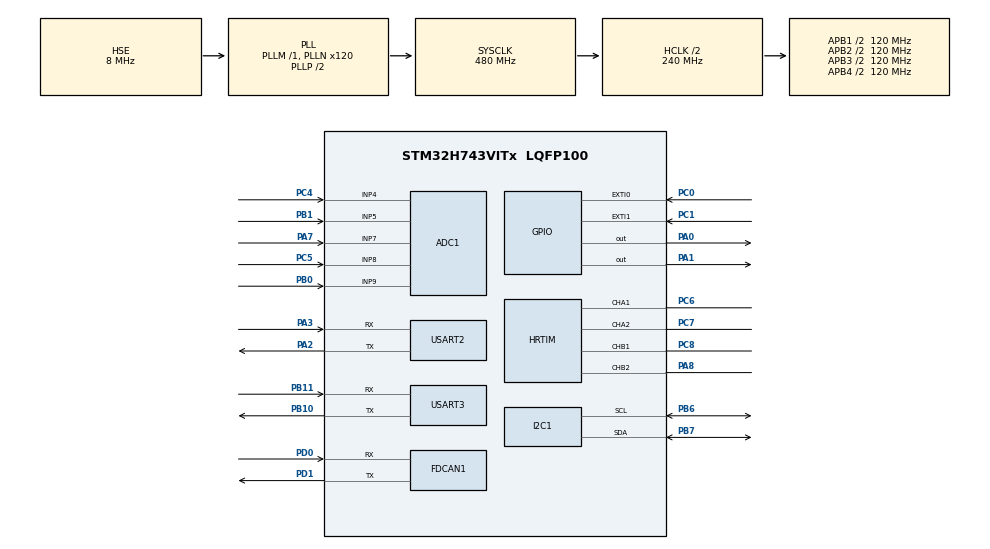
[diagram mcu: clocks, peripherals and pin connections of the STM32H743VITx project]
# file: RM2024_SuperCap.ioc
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ADC1.Channel-0\#ChannelRegularConversion=ADC_CHANNEL_4
ADC1.Channel-1\#ChannelRegularConversion=ADC_CHANNEL_5
ADC1.Channel-2\#ChannelRegularConversion=ADC_CHANNEL_7
ADC1.Channel-3\#ChannelRegularConversion=ADC_CHANNEL_8
ADC1.Channel-4\#ChannelRegularConversion=ADC_CHANNEL_9
ADC1.ConversionDataManagement=ADC_CONVERSIONDATA_DMA_CIRCULAR
ADC1.EOCSelection=ADC_EOC_SEQ_CONV
ADC1.ExternalTrigConv=ADC_EXTERNALTRIG_T3_TRGO
ADC1.NbrOfConversion=5
ADC1.NbrOfConversionFlag=1
ADC1.OffsetNumber-0\#ChannelRegularConversion=ADC_OFFSET_NONE
ADC1.OffsetNumber-1\#ChannelRegularConversion=ADC_OFFSET_NONE
ADC1.OffsetNumber-2\#ChannelRegularConversion=ADC_OFFSET_NONE
ADC1.OffsetNumber-3\#ChannelRegularConversion=ADC_OFFSET_NONE
ADC1.OffsetNumber-4\#ChannelRegularConversion=ADC_OFFSET_NONE
ADC1.OffsetSignedSaturation-0\#ChannelRegularConversion=DISABLE
ADC1.OffsetSignedSaturation-1\#ChannelRegularConversion=DISABLE
ADC1.OffsetSignedSaturation-2\#ChannelRegularConversion=DISABLE
ADC1.OffsetSignedSaturation-3\#ChannelRegularConversion=DISABLE
ADC1.OffsetSignedSaturation-4\#ChannelRegularConversion=DISABLE
ADC1.Overrun=ADC_OVR_DATA_OVERWRITTEN
ADC1.Rank-0\#ChannelRegularConversion=1
ADC1.Rank-1\#ChannelRegularConversion=2
ADC1.Rank-2\#ChannelRegularConversion=3
ADC1.Rank-3\#ChannelRegularConversion=4
ADC1.Rank-4\#ChannelRegularConversion=5
ADC1.SamplingTime-0\#ChannelRegularConversion=ADC_SAMPLETIME_1CYCLE_5
ADC1.SamplingTime-1\#ChannelRegularConversion=ADC_SAMPLETIME_1CYCLE_5
ADC1.SamplingTime-2\#ChannelRegularConversion=ADC_SAMPLETIME_1CYCLE_5
ADC1.SamplingTime-3\#ChannelRegularConversion=ADC_SAMPLETIME_1CYCLE_5
ADC1.SamplingTime-4\#ChannelRegularConversion=ADC_SAMPLETIME_1CYCLE_5
ADC1.master=1
Dma.ADC1.0.Direction=DMA_PERIPH_TO_MEMORY
Dma.ADC1.0.EventEnable=DISABLE
Dma.ADC1.0.FIFOMode=DMA_FIFOMODE_DISABLE
Dma.ADC1.0.Instance=DMA1_Stream0
Dma.ADC1.0.MemDataAlignment=DMA_MDATAALIGN_WORD
Dma.ADC1.0.MemInc=DMA_MINC_ENABLE
Dma.ADC1.0.Mode=DMA_CIRCULAR
Dma.ADC1.0.PeriphDataAlignment=DMA_PDATAALIGN_WORD
Dma.ADC1.0.PeriphInc=DMA_PINC_DISABLE
Dma.ADC1.0.Polarity=HAL_DMAMUX_REQ_GEN_RISING
Dma.ADC1.0.Priority=DMA_PRIORITY_HIGH
Dma.ADC1.0.RequestNumber=1
Dma.ADC1.0.SignalID=NONE
Dma.ADC1.0.SyncEnable=DISABLE
Dma.ADC1.0.SyncPolarity=HAL_DMAMUX_SYNC_NO_EVENT
Dma.ADC1.0.SyncRequestNumber=1
Dma.ADC1.0.SyncSignalID=NONE
Dma.Request0=ADC1
FDCAN1.AutoRetransmission=ENABLE
FDCAN1.CalculateBaudRateNominal=1000000
FDCAN1.CalculateTimeBitNominal=1000
FDCAN1.CalculateTimeQuantumNominal=100.0
FDCAN1.DataPrescaler=12
FDCAN1.DataTimeSeg1=5
FDCAN1.DataTimeSeg2=4
FDCAN1.NominalPrescaler=12
FDCAN1.NominalTimeSeg1=5
FDCAN1.NominalTimeSeg2=4
FDCAN1.RxFifo0ElmtsNbr=1
FDCAN1.StdFiltersNbr=1
FDCAN1.TxFifoQueueElmtsNbr=1
HRTIM.CompareUnit1-MasterTimer=HRTIM_COMPAREUNIT_1
HRTIM.CompareUnit2-MasterTimer=HRTIM_COMPAREUNIT_2
HRTIM.CompareValue1-MasterTimer=500
HRTIM.CompareValue2-MasterTimer=500
HRTIM.DeadTimeInsertion-Output_TA1TA2=HRTIM_TIMDEADTIMEINSERTION_ENABLED
HRTIM.DeadTimeInsertion-Output_TB1TB2=HRTIM_TIMDEADTIMEINSERTION_ENABLED
HRTIM.FallingLock-Output_TA1TA2=HRTIM_TIMDEADTIME_FALLINGLOCK_READONLY
HRTIM.FallingLock-Output_TB1TB2=HRTIM_TIMDEADTIME_FALLINGLOCK_READONLY
HRTIM.FallingSignLock-Output_TA1TA2=HRTIM_TIMDEADTIME_FALLINGSIGNLOCK_READONLY
HRTIM.FallingSignLock-Output_TB1TB2=HRTIM_TIMDEADTIME_FALLINGSIGNLOCK_READONLY
HRTIM.FallingValue-Output_TA1TA2=250
HRTIM.FallingValue-Output_TB1TB2=250
HRTIM.FaultLock-Output_TA1TA2=HRTIM_TIMFAULTLOCK_READONLY
HRTIM.FaultLock-Output_TB1TB2=HRTIM_TIMFAULTLOCK_READONLY
HRTIM.NumberResetSource1-Output_TA1TA2=1
HRTIM.NumberResetSource1-Output_TB1TB2=1
HRTIM.NumberSetSource1-Output_TA1TA2=1
HRTIM.NumberSetSource1-Output_TB1TB2=1
HRTIM.Periode_MASTER=2400
HRTIM.Periode_TA=2400
HRTIM.Periode_TB=2400
HRTIM.PreloadEnable-Output_TB1TB2=HRTIM_PRELOAD_ENABLED
HRTIM.RepetitionUpdate-Output_TA1TA2=HRTIM_UPDATEONREPETITION_ENABLED
HRTIM.RepetitionUpdate-Output_TB1TB2=HRTIM_UPDATEONREPETITION_ENABLED
HRTIM.ResetOutput1_Source1-Output_TA1TA2=HRTIM_OUTPUTRESET_MASTERCMP1
HRTIM.ResetOutput1_Source1-Output_TB1TB2=HRTIM_OUTPUTRESET_MASTERCMP2
HRTIM.RisingLock-Output_TA1TA2=HRTIM_TIMDEADTIME_RISINGLOCK_READONLY
HRTIM.RisingLock-Output_TB1TB2=HRTIM_TIMDEADTIME_RISINGLOCK_READONLY
HRTIM.RisingSignLock-Output_TA1TA2=HRTIM_TIMDEADTIME_RISINGSIGNLOCK_READONLY
HRTIM.RisingSignLock-Output_TB1TB2=HRTIM_TIMDEADTIME_RISINGSIGNLOCK_READONLY
HRTIM.RisingValue-Output_TA1TA2=250
HRTIM.RisingValue-Output_TB1TB2=250
HRTIM.SetOutput1_Source1-Output_TA1TA2=HRTIM_OUTPUTSET_MASTERPER
HRTIM.SetOutput1_Source1-Output_TB1TB2=HRTIM_OUTPUTSET_MASTERPER
I2C1.Timing=0x307075B1
Mcu.Family=STM32H7
Mcu.Name=STM32H743VITx
Mcu.Package=LQFP100
NVIC.ADC_IRQn=true\:1\:0\:true\:false\:true\:true\:true\:true
NVIC.DMA1_Stream0_IRQn=true\:1\:0\:true\:false\:true\:false\:true\:true
NVIC.EXTI0_IRQn=true\:6\:0\:true\:false\:true\:true\:true\:true
NVIC.EXTI1_IRQn=true\:6\:0\:true\:false\:true\:true\:true\:true
NVIC.FDCAN1_IT0_IRQn=true\:2\:0\:true\:false\:true\:true\:true\:true
NVIC.PriorityGroup=NVIC_PRIORITYGROUP_4
NVIC.TIM3_IRQn=true\:3\:0\:true\:false\:true\:true\:true\:true
NVIC.TIM4_IRQn=true\:4\:0\:true\:false\:true\:true\:true\:true
NVIC.TIM5_IRQn=true\:5\:0\:true\:false\:true\:true\:true\:true
NVIC.USART3_IRQn=true\:2\:0\:true\:false\:true\:true\:true\:true
PA0.Signal=GPIO_Output
PA1.Signal=GPIO_Output
PA13\ (JTMS/SWDIO).Mode=Serial_Wire
PA13\ (JTMS/SWDIO).Signal=DEBUG_JTMS-SWDIO
PA14\ (JTCK/SWCLK).Mode=Serial_Wire
PA14\ (JTCK/SWCLK).Signal=DEBUG_JTCK-SWCLK
PA2.Mode=Asynchronous
PA2.Signal=USART2_TX
PA3.Mode=Asynchronous
PA3.Signal=USART2_RX
PA7.Signal=ADCx_INP7
PA8.Mode=Output_TB1TB2
PA8.Signal=HRTIM_CHB2
PB0.Signal=ADCx_INP9
PB1.Signal=ADCx_INP5
PB10.Mode=Asynchronous
PB10.Signal=USART3_TX
PB11.Mode=Asynchronous
PB11.Signal=USART3_RX
PB6.GPIO_Pu=GPIO_PULLUP
PB6.GPIO_Speed=GPIO_SPEED_FREQ_HIGH
PB6.Mode=I2C
PB6.Signal=I2C1_SCL
PB7.GPIO_Pu=GPIO_PULLUP
PB7.GPIO_Speed=GPIO_SPEED_FREQ_HIGH
PB7.Mode=I2C
PB7.Signal=I2C1_SDA
PC0.Signal=GPXTI0
PC1.Signal=GPXTI1
PC14-OSC32_IN\ (OSC32_IN).Mode=LSE-External-Oscillator
PC14-OSC32_IN\ (OSC32_IN).Signal=RCC_OSC32_IN
PC15-OSC32_OUT\ (OSC32_OUT).Mode=LSE-External-Oscillator
PC15-OSC32_OUT\ (OSC32_OUT).Signal=RCC_OSC32_OUT
PC4.Signal=ADCx_INP4
PC5.Signal=ADCx_INP8
PC6.Mode=Output_TA1TA2
PC6.Signal=HRTIM_CHA1
PC7.Mode=Output_TA1TA2
PC7.Signal=HRTIM_CHA2
PC8.Mode=Output_TB1TB2
PC8.Signal=HRTIM_CHB1
PD0.Mode=FDCAN_Activate
PD0.Signal=FDCAN1_RX
PD1.Mode=FDCAN_Activate
PD1.Signal=FDCAN1_TX
PH0-OSC_IN\ (PH0).Mode=HSE-External-Oscillator
PH0-OSC_IN\ (PH0).Signal=RCC_OSC_IN
PH1-OSC_OUT\ (PH1).Mode=HSE-External-Oscillator
PH1-OSC_OUT\ (PH1).Signal=RCC_OSC_OUT
ProjectManager.HeapSize=0x200
ProjectManager.StackSize=0x400
ProjectManager.TargetToolchain=MDK-ARM V5.27
RCC.ADCFreq_Value=30000000
RCC.APB1Freq_Value=120000000
RCC.APB2Freq_Value=120000000
RCC.APB3Freq_Value=120000000
RCC.APB4Freq_Value=120000000
RCC.CortexFreq_Value=480000000
RCC.D1PPRE=RCC_APB3_DIV2
RCC.D2PPRE1=RCC_APB1_DIV2
RCC.D2PPRE2=RCC_APB2_DIV2
RCC.D3PPRE=RCC_APB4_DIV2
RCC.DIVM1=1
RCC.DIVM2=1
RCC.DIVN1=120
RCC.DIVN2=18
RCC.DIVP2=5
RCC.DIVQ1=8
RCC.HCLKFreq_Value=240000000
RCC.HPRE=RCC_HCLK_DIV2
RCC.HSE_VALUE=8000000
RCC.HSIDiv=RCC_PLLSAIDIVR_8
RCC.PLL2FRACN=6144
RCC.PLLFRACN=0
RCC.PLLSourceVirtual=RCC_PLLSOURCE_HSE
RCC.SYSCLKFreq_VALUE=480000000
RCC.SYSCLKSource=RCC_SYSCLKSOURCE_PLLCLK
RCC.USBFreq_Value=120000000
SH.ADCx_INP4.0=ADC1_INP4,IN4-Single-Ended
SH.ADCx_INP5.0=ADC1_INP5,IN5-Single-Ended
SH.ADCx_INP7.0=ADC1_INP7,IN7-Single-Ended
SH.ADCx_INP8.0=ADC1_INP8,IN8-Single-Ended
SH.ADCx_INP9.0=ADC1_INP9,IN9-Single-Ended
TIM3.Channel-Output\ Compare4\ No\ Output=TIM_CHANNEL_4
TIM3.Period=99
TIM3.Prescaler=239
TIM3.Pulse-Output\ Compare4\ No\ Output=100
TIM3.TIM_MasterOutputTrigger=TIM_TRGO_UPDATE
TIM4.AutoReloadPreload=TIM_AUTORELOAD_PRELOAD_DISABLE
TIM4.Period=999
TIM4.Prescaler=239
TIM4.TIM_MasterOutputTrigger=TIM_TRGO_RESET
TIM5.Period=10000-1
TIM5.Prescaler=239
USART2.VirtualMode-Asynchronous=VM_ASYNC
USART3.VirtualMode-Asynchronous=VM_ASYNC
VP_HRTIM_VS_hrtimMasterTimerNoOutput.Mode=MasterTimer
VP_MEMORYMAP_VS_MEMORYMAP.Mode=CurAppReg
VP_TIM3_VS_ClockSourceINT.Mode=Internal
VP_TIM3_VS_no_output4.Mode=Output Compare4 No Output
VP_TIM4_VS_ClockSourceINT.Mode=Internal
VP_TIM5_VS_ClockSourceINT.Mode=Internal
board=custom

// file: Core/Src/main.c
/* USER CODE BEGIN Header */
/**
  ******************************************************************************
  * @file           : main.c
  * @brief          : Main program body
  ******************************************************************************
  * @attention
  *
  * Copyright (c) 2024 STMicroelectronics.
  * All rights reserved.
  *
  * This software is licensed under terms that can be found in the LICENSE file
  * in the root directory of this software component.
  * If no LICENSE file comes with this software, it is provided AS-IS.
  *
  ******************************************************************************
  */
/* USER CODE END Header */
#include "main.h"
#include "adc.h"
#include "dma.h"
#include "fdcan.h"
#include "hrtim.h"
#include "i2c.h"
#include "memorymap.h"
#include "tim.h"
#include "usart.h"
#include "gpio.h"

/* USER CODE BEGIN Includes */
#include "lib.h"
#include "PWM_Control.h"
#include "BSP_CAN_FD.h"
#include "Init_Task.h"//自定义.c的调用
#include "Task.h"
/* USER CODE END Includes */

/* USER CODE BEGIN PV */
uint32_t count_last[10];
int timer_debug[10];
int tim_3,tim_4;
int time_t=0,i_t=0;
void HAL_GPIO_EXTI_Callback(uint16_t GPIO_Pin)
{

	switch(GPIO_Pin)
	{
			case(GPIO_PIN_0):

			if(HAL_GetTick()-tim_3>200)
			{
				tim_3=HAL_GetTick();
				can_data.page++;
			}

			break;
			case(GPIO_PIN_1):
			if(HAL_GetTick()-tim_4>200)
			{//若在200ms以内检测到第二次，不算，保证了按键按下稳定性
				tim_4=HAL_GetTick();
				can_data.page--;
			}
			break;
			default://无匹配
			break;
	}

}
/* USER CODE END PV */

void SystemClock_Config(void);

int main(void)
{

  /* MCU Configuration--------------------------------------------------------*/

  /* Reset of all peripherals, Initializes the Flash interface and the Systick. */
  HAL_Init();

  /* Configure the system clock */
  SystemClock_Config();

  /* USER CODE BEGIN SysInit */
  MX_DMA_Init();
  /* USER CODE END SysInit */

  /* Initialize all configured peripherals */
  MX_GPIO_Init();
  MX_DMA_Init();
  MX_ADC1_Init();
  MX_HRTIM_Init();
  MX_FDCAN1_Init();
  MX_I2C1_Init();
  MX_TIM3_Init();
  MX_TIM4_Init();
  MX_TIM5_Init();
  MX_USART2_UART_Init();
  MX_USART3_UART_Init();
  /* USER CODE BEGIN 2 */
  Init_Task();
//初始化
  /* USER CODE END 2 */

  /* Infinite loop */
  while (1)
  {

  }
}

void SystemClock_Config(void)
{
  RCC_OscInitTypeDef RCC_OscInitStruct = {0};
  RCC_ClkInitTypeDef RCC_ClkInitStruct = {0};

  /** Supply configuration update enable
  */
  HAL_PWREx_ConfigSupply(PWR_LDO_SUPPLY);

  /** Configure the main internal regulator output voltage
  */
  __HAL_PWR_VOLTAGESCALING_CONFIG(PWR_REGULATOR_VOLTAGE_SCALE1);

  while(!__HAL_PWR_GET_FLAG(PWR_FLAG_VOSRDY)) {}

  __HAL_RCC_SYSCFG_CLK_ENABLE();
  __HAL_PWR_VOLTAGESCALING_CONFIG(PWR_REGULATOR_VOLTAGE_SCALE0);

  while(!__HAL_PWR_GET_FLAG(PWR_FLAG_VOSRDY)) {}

  /** Initializes the RCC Oscillators according to the specified parameters
  * in the RCC_OscInitTypeDef structure.
  */
  RCC_OscInitStruct.OscillatorType = RCC_OSCILLATORTYPE_HSE;
  RCC_OscInitStruct.HSEState = RCC_HSE_ON;
  RCC_OscInitStruct.PLL.PLLState = RCC_PLL_ON;
  RCC_OscInitStruct.PLL.PLLSource = RCC_PLLSOURCE_HSE;
  RCC_OscInitStruct.PLL.PLLM = 1;
  RCC_OscInitStruct.PLL.PLLN = 120;
  RCC_OscInitStruct.PLL.PLLP = 2;
  RCC_OscInitStruct.PLL.PLLQ = 8;
  RCC_OscInitStruct.PLL.PLLR = 2;
  RCC_OscInitStruct.PLL.PLLRGE = RCC_PLL1VCIRANGE_3;
  RCC_OscInitStruct.PLL.PLLVCOSEL = RCC_PLL1VCOWIDE;
  RCC_OscInitStruct.PLL.PLLFRACN = 0;
  if (HAL_RCC_OscConfig(&RCC_OscInitStruct) != HAL_OK)
  {
    Error_Handler();
  }

  /** Initializes the CPU, AHB and APB buses clocks
  */
  RCC_ClkInitStruct.ClockType = RCC_CLOCKTYPE_HCLK|RCC_CLOCKTYPE_SYSCLK
                              |RCC_CLOCKTYPE_PCLK1|RCC_CLOCKTYPE_PCLK2
                              |RCC_CLOCKTYPE_D3PCLK1|RCC_CLOCKTYPE_D1PCLK1;
  RCC_ClkInitStruct.SYSCLKSource = RCC_SYSCLKSOURCE_PLLCLK;
  RCC_ClkInitStruct.SYSCLKDivider = RCC_SYSCLK_DIV1;
  RCC_ClkInitStruct.AHBCLKDivider = RCC_HCLK_DIV2;
  RCC_ClkInitStruct.APB3CLKDivider = RCC_APB3_DIV2;
  RCC_ClkInitStruct.APB1CLKDivider = RCC_APB1_DIV2;
  RCC_ClkInitStruct.APB2CLKDivider = RCC_APB2_DIV2;
  RCC_ClkInitStruct.APB4CLKDivider = RCC_APB4_DIV2;

  if (HAL_RCC_ClockConfig(&RCC_ClkInitStruct, FLASH_LATENCY_4) != HAL_OK)
  {
    Error_Handler();
  }
}

void Error_Handler(void)
{
  __disable_irq();
  while (1)
  {
  }
}
